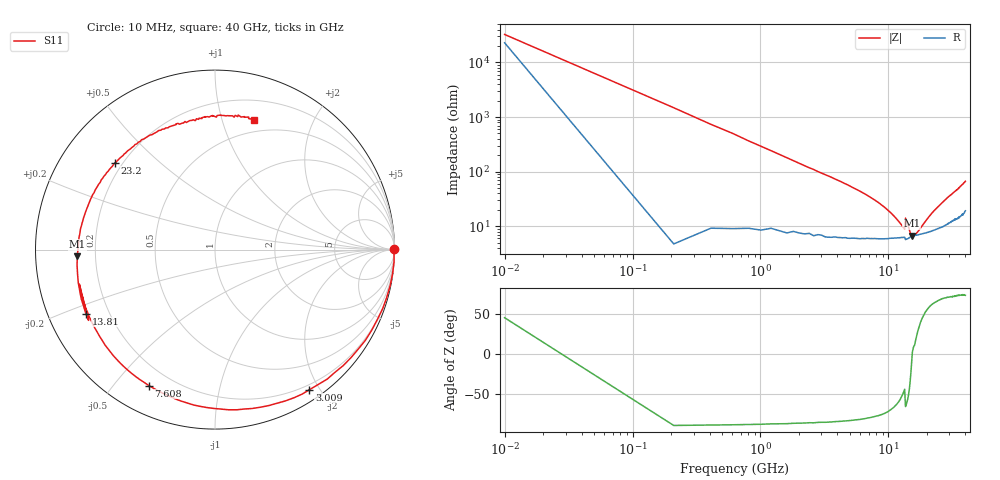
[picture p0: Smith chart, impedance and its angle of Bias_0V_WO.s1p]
!Agilent Technologies,N5227A,US51270434,A.10.00.00
!Agilent N5227A: A.10.00.00
!Date: Monday, March 30, 2026 11:21:14
!Correction: S11(Full 1 Port(1))
!S1P File: Measurement: S11:
# Hz S  dB  R 50
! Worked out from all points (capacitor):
!   201 points, 10 MHz to 40 GHz, reference 50 ohm
!   read as one part to ground: C = 522 fF near 209.9 MHz
!   lowest |Z| = 6.67 ohm at 15.21 GHz (marker M1)
!   series resonance near 15.37 GHz, so ESL is about 210 pH
!   S11 on the Smith chart (normalised r, x): 10 MHz: open; 3.009 GHz: 0.14, -1.87; 7.608 GHz: 0.12, -0.62; 13.81 GHz: 0.12, -0.23; 23.2 GHz: 0.17, +0.36; 40 GHz: 0.38, +1.28
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1e7  -0.02 0.1
6.0985e8  -0.03 -11.4
1.2097e9  -0.13 -23.3
2.20945e9  -0.33 -42.2
3.00925e9  -0.53 -56.0
4.009e9  -0.73 -71.0
5.00875e9  -0.96 -85.2
6.0085e9  -1.17 -97.7
7.6081e9  -1.49 -116.0
8.60785e9  -1.63 -126.1
1.00075e10  -1.82 -139.1
1.16071e10  -2.00 -152.4
1.340665e10  -2.16 -165.7
1.36066e10  -1.86 -150.7
1.380655e10  -1.90 -153.6
1.500625e10  -2.23 -173.6
1.52062e10  -2.29 -177.3
1.540615e10  -2.35 179.4
1.56061e10  -2.36 178.2
1.700575e10  -2.40 171.1
2.0005e10  -2.56 154.8
2.32042e10  -2.65 139.0
2.500375e10  -2.69 130.8
2.72032e10  -2.69 121.0
3.00025e10  -2.73 109.7
3.500125e10  -2.56 91.7
3.820045e10  -2.38 80.2
4e10  -2.46 73.1
